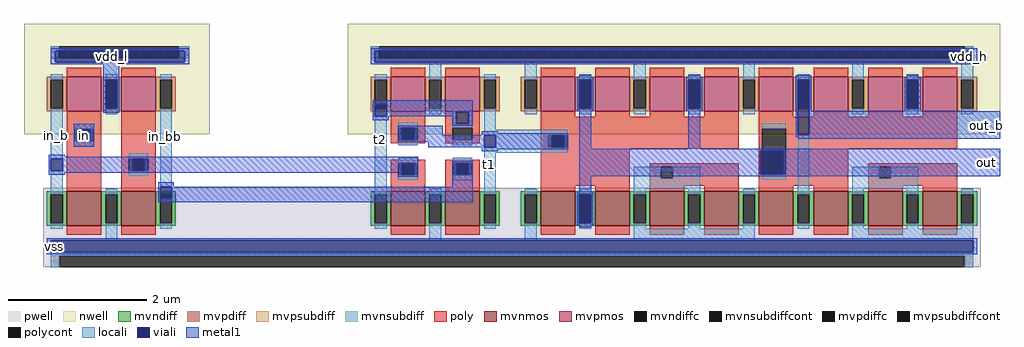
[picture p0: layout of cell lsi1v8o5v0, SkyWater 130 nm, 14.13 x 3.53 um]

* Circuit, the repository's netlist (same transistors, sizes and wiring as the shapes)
** sch_path: /home/amedcalf/projects/ci2406_fgcaptest/xschem/lsi1v8o5v0.sch
.subckt lsi1v8o5v0 in out_b out vdd_l vdd_h vss
*.PININFO in:I out_b:O out:O vdd_l:I vdd_h:I vss:I
XMN2 in_bb in_b vss vss sky130_fd_pr__nfet_g5v0d10v5 L=0.5 W=0.5 nf=1 m=1
XMN11 t2 in_b vss vss sky130_fd_pr__nfet_g5v0d10v5 L=0.5 W=0.5 nf=1 m=1
XMN12 t1 in_bb vss vss sky130_fd_pr__nfet_g5v0d10v5 L=0.5 W=0.5 nf=1 m=1
XMN13a out t1 vss vss sky130_fd_pr__nfet_g5v0d10v5 L=0.5 W=0.5 nf=1 m=1
XMN14a out_b out vss vss sky130_fd_pr__nfet_g5v0d10v5 L=0.5 W=0.5 nf=1 m=1
XMP2 in_bb in_b vdd_l vdd_l sky130_fd_pr__pfet_g5v0d10v5 L=0.5 W=0.5 nf=1 m=1
XMP11 t2 t1 vdd_h vdd_h sky130_fd_pr__pfet_g5v0d10v5 L=0.5 W=0.5 nf=1 m=1
XMP12 t1 t2 vdd_h vdd_h sky130_fd_pr__pfet_g5v0d10v5 L=0.5 W=0.5 nf=1 m=1
XMP13a out t1 vdd_h vdd_h sky130_fd_pr__pfet_g5v0d10v5 L=0.5 W=0.5 nf=1 m=1
XMP14a out_b out vdd_h vdd_h sky130_fd_pr__pfet_g5v0d10v5 L=0.5 W=0.5 nf=1 m=1
XMN13b out t1 vss vss sky130_fd_pr__nfet_g5v0d10v5 L=0.5 W=0.5 nf=1 m=1
XMP13b out t1 vdd_h vdd_h sky130_fd_pr__pfet_g5v0d10v5 L=0.5 W=0.5 nf=1 m=1
XMP13c out t1 vdd_h vdd_h sky130_fd_pr__pfet_g5v0d10v5 L=0.5 W=0.5 nf=1 m=1
XMP13d out t1 vdd_h vdd_h sky130_fd_pr__pfet_g5v0d10v5 L=0.5 W=0.5 nf=1 m=1
XMND1 vss vss vss vss sky130_fd_pr__nfet_g5v0d10v5 L=0.5 W=0.5 nf=1 m=1
XMND2 vss vss vss vss sky130_fd_pr__nfet_g5v0d10v5 L=0.5 W=0.5 nf=1 m=1
XMP14b out_b out vdd_h vdd_h sky130_fd_pr__pfet_g5v0d10v5 L=0.5 W=0.5 nf=1 m=1
XMP14c out_b out vdd_h vdd_h sky130_fd_pr__pfet_g5v0d10v5 L=0.5 W=0.5 nf=1 m=1
XMP14d out_b out vdd_h vdd_h sky130_fd_pr__pfet_g5v0d10v5 L=0.5 W=0.5 nf=1 m=1
XMN14b out_b out vss vss sky130_fd_pr__nfet_g5v0d10v5 L=0.5 W=0.5 nf=1 m=1
XMND3 vss vss vss vss sky130_fd_pr__nfet_g5v0d10v5 L=0.5 W=0.5 nf=1 m=1
XMND4 vss vss vss vss sky130_fd_pr__nfet_g5v0d10v5 L=0.5 W=0.5 nf=1 m=1
XMP1 in_b in vdd_l vdd_l sky130_fd_pr__pfet_g5v0d10v5 L=0.5 W=0.5 nf=1 m=1
XMN1 in_b in vss vss sky130_fd_pr__nfet_g5v0d10v5 L=0.5 W=0.5 nf=1 m=1
.ends

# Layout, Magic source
magic
tech sky130A
<< nwell >>
rect -42 133 227 293
rect 427 133 1371 293
<< pwell >>
rect -14 -60 1343 55
<< mvnmos >>
rect 20 0 70 50
rect 99 0 149 50
rect 489 0 539 50
rect 568 0 618 50
rect 706 0 756 50
rect 785 0 835 50
rect 864 0 914 50
rect 943 0 993 50
rect 1022 0 1072 50
rect 1101 0 1151 50
rect 1180 0 1230 50
rect 1259 0 1309 50
<< mvpmos >>
rect 20 166 70 216
rect 99 166 149 216
rect 489 166 539 216
rect 568 166 618 216
rect 706 166 756 216
rect 785 166 835 216
rect 864 166 914 216
rect 943 166 993 216
rect 1022 166 1072 216
rect 1101 166 1151 216
rect 1180 166 1230 216
rect 1259 166 1309 216
<< mvndiff >>
rect -9 46 20 50
rect -9 4 -3 46
rect 14 4 20 46
rect -9 0 20 4
rect 70 46 99 50
rect 70 4 76 46
rect 93 4 99 46
rect 70 0 99 4
rect 149 46 178 50
rect 149 4 155 46
rect 172 4 178 46
rect 149 0 178 4
rect 460 46 489 50
rect 460 4 466 46
rect 483 4 489 46
rect 460 0 489 4
rect 539 46 568 50
rect 539 4 545 46
rect 562 4 568 46
rect 539 0 568 4
rect 618 46 647 50
rect 618 4 624 46
rect 641 4 647 46
rect 618 0 647 4
rect 677 46 706 50
rect 677 4 683 46
rect 700 4 706 46
rect 677 0 706 4
rect 756 46 785 50
rect 756 4 762 46
rect 779 4 785 46
rect 756 0 785 4
rect 835 46 864 50
rect 835 4 841 46
rect 858 4 864 46
rect 835 0 864 4
rect 914 46 943 50
rect 914 4 920 46
rect 937 4 943 46
rect 914 0 943 4
rect 993 46 1022 50
rect 993 4 999 46
rect 1016 4 1022 46
rect 993 0 1022 4
rect 1072 46 1101 50
rect 1072 4 1078 46
rect 1095 4 1101 46
rect 1072 0 1101 4
rect 1151 46 1180 50
rect 1151 4 1157 46
rect 1174 4 1180 46
rect 1151 0 1180 4
rect 1230 46 1259 50
rect 1230 4 1236 46
rect 1253 4 1259 46
rect 1230 0 1259 4
rect 1309 46 1338 50
rect 1309 4 1315 46
rect 1332 4 1338 46
rect 1309 0 1338 4
<< mvpdiff >>
rect -9 212 20 216
rect -9 170 -3 212
rect 14 170 20 212
rect -9 166 20 170
rect 70 212 99 216
rect 70 170 76 212
rect 93 170 99 212
rect 70 166 99 170
rect 149 212 178 216
rect 149 170 155 212
rect 172 170 178 212
rect 149 166 178 170
rect 460 212 489 216
rect 460 170 466 212
rect 483 170 489 212
rect 460 166 489 170
rect 539 212 568 216
rect 539 170 545 212
rect 562 170 568 212
rect 539 166 568 170
rect 618 212 647 216
rect 618 170 624 212
rect 641 170 647 212
rect 618 166 647 170
rect 677 212 706 216
rect 677 170 683 212
rect 700 170 706 212
rect 677 166 706 170
rect 756 212 785 216
rect 756 170 762 212
rect 779 170 785 212
rect 756 166 785 170
rect 835 212 864 216
rect 835 170 841 212
rect 858 170 864 212
rect 835 166 864 170
rect 914 212 943 216
rect 914 170 920 212
rect 937 170 943 212
rect 914 166 943 170
rect 993 212 1022 216
rect 993 170 999 212
rect 1016 170 1022 212
rect 993 166 1022 170
rect 1072 212 1101 216
rect 1072 170 1078 212
rect 1095 170 1101 212
rect 1072 166 1101 170
rect 1151 212 1180 216
rect 1151 170 1157 212
rect 1174 170 1180 212
rect 1151 166 1180 170
rect 1230 212 1259 216
rect 1230 170 1236 212
rect 1253 170 1259 212
rect 1230 166 1259 170
rect 1309 212 1338 216
rect 1309 170 1315 212
rect 1332 170 1338 212
rect 1309 166 1338 170
<< mvndiffc >>
rect -3 4 14 46
rect 76 4 93 46
rect 155 4 172 46
rect 466 4 483 46
rect 545 4 562 46
rect 624 4 641 46
rect 683 4 700 46
rect 762 4 779 46
rect 841 4 858 46
rect 920 4 937 46
rect 999 4 1016 46
rect 1078 4 1095 46
rect 1157 4 1174 46
rect 1236 4 1253 46
rect 1315 4 1332 46
<< mvpdiffc >>
rect -3 170 14 212
rect 76 170 93 212
rect 155 170 172 212
rect 466 170 483 212
rect 545 170 562 212
rect 624 170 641 212
rect 683 170 700 212
rect 762 170 779 212
rect 841 170 858 212
rect 920 170 937 212
rect 999 170 1016 212
rect 1078 170 1095 212
rect 1157 170 1174 212
rect 1236 170 1253 212
rect 1315 170 1332 212
<< mvpsubdiff >>
rect -3 -60 9 -43
rect 1320 -60 1332 -43
<< mvnsubdiff >>
rect -3 243 9 260
rect 182 243 194 260
rect 460 243 472 260
rect 1320 243 1332 260
<< mvpsubdiffcont >>
rect 9 -60 1320 -43
<< mvnsubdiffcont >>
rect 9 243 182 260
rect 472 243 1320 260
<< poly >>
rect 20 216 70 229
rect 99 216 149 229
rect 489 216 539 229
rect 568 216 618 229
rect 706 216 756 229
rect 785 216 835 229
rect 864 216 914 229
rect 943 216 993 229
rect 1022 216 1072 229
rect 1101 216 1151 229
rect 1180 216 1230 229
rect 1259 216 1309 229
rect 20 140 70 166
rect 20 123 31 140
rect 59 123 70 140
rect 20 50 70 123
rect 99 97 149 166
rect 489 142 539 166
rect 489 125 500 142
rect 528 125 539 142
rect 489 120 539 125
rect 568 142 618 166
rect 568 125 579 142
rect 607 125 618 142
rect 568 120 618 125
rect 706 158 756 166
rect 785 158 835 166
rect 864 158 914 166
rect 943 158 993 166
rect 706 131 993 158
rect 99 80 110 97
rect 138 80 149 97
rect 706 114 717 131
rect 745 114 993 131
rect 706 112 993 114
rect 1022 158 1072 166
rect 1101 158 1151 166
rect 1180 158 1230 166
rect 1259 158 1309 166
rect 1022 141 1309 158
rect 99 50 149 80
rect 489 91 539 96
rect 489 74 500 91
rect 528 74 539 91
rect 489 50 539 74
rect 568 91 618 96
rect 568 74 579 91
rect 607 74 618 91
rect 568 50 618 74
rect 706 58 835 112
rect 706 50 756 58
rect 785 50 835 58
rect 864 86 993 91
rect 864 69 880 86
rect 897 69 993 86
rect 864 58 993 69
rect 864 50 914 58
rect 943 50 993 58
rect 1022 75 1027 141
rect 1061 112 1309 141
rect 1061 75 1151 112
rect 1022 58 1151 75
rect 1022 50 1072 58
rect 1101 50 1151 58
rect 1180 86 1309 91
rect 1180 69 1196 86
rect 1213 69 1309 86
rect 1180 58 1309 69
rect 1180 50 1230 58
rect 1259 50 1309 58
rect 20 -13 70 0
rect 99 -13 149 0
rect 489 -13 539 0
rect 568 -13 618 0
rect 706 -13 756 0
rect 785 -13 835 0
rect 864 -13 914 0
rect 943 -13 993 0
rect 1022 -13 1072 0
rect 1101 -13 1151 0
rect 1180 -13 1230 0
rect 1259 -13 1309 0
<< polycont >>
rect 31 123 59 140
rect 500 125 528 142
rect 579 125 607 142
rect 110 80 138 97
rect 717 114 745 131
rect 500 74 528 91
rect 579 74 607 91
rect 880 69 897 86
rect 1027 75 1061 141
rect 1196 69 1213 86
<< locali >>
rect -3 254 9 260
rect 182 254 197 260
rect -3 243 3 254
rect 191 243 197 254
rect 460 254 472 260
rect 1320 254 1332 260
rect 460 243 466 254
rect -3 212 14 220
rect -3 97 14 170
rect 76 212 93 220
rect 76 162 93 170
rect 155 212 172 220
rect 31 140 59 148
rect 31 115 59 123
rect -3 46 14 80
rect 110 97 138 105
rect 110 72 138 80
rect 155 57 172 170
rect -3 -4 14 4
rect 76 46 93 54
rect 76 -21 93 4
rect 155 -4 172 4
rect 466 212 483 220
rect 545 212 562 237
rect 545 162 562 170
rect 624 212 641 220
rect 466 46 483 159
rect 500 142 528 150
rect 500 117 528 125
rect 579 148 584 165
rect 602 148 607 165
rect 579 142 607 148
rect 579 117 607 125
rect 624 139 641 170
rect 683 212 700 237
rect 683 162 700 170
rect 762 212 779 220
rect 762 162 779 170
rect 841 212 858 237
rect 841 162 858 170
rect 920 212 937 220
rect 920 162 937 170
rect 999 212 1016 237
rect 999 162 1016 170
rect 1078 212 1095 220
rect 1027 141 1061 149
rect 624 131 745 139
rect 641 114 717 131
rect 624 106 745 114
rect 500 91 528 99
rect 500 66 528 74
rect 579 91 607 99
rect 579 66 607 74
rect 466 -4 483 4
rect 545 46 562 54
rect 545 -21 562 4
rect 624 46 641 106
rect 841 69 880 86
rect 897 69 937 86
rect 841 54 937 69
rect 1027 67 1061 75
rect 1157 212 1174 237
rect 1157 162 1174 170
rect 1236 212 1253 220
rect 1236 162 1253 170
rect 1315 212 1332 237
rect 1315 162 1332 170
rect 624 -4 641 4
rect 683 46 700 54
rect 683 -21 700 4
rect 762 46 779 54
rect 762 -4 779 4
rect 841 46 858 54
rect 841 -4 858 4
rect 920 46 937 54
rect 920 -4 937 4
rect 999 46 1016 54
rect 999 -4 1016 4
rect 1078 46 1095 132
rect 1078 -4 1095 4
rect 1157 69 1196 86
rect 1213 69 1253 86
rect 1157 54 1253 69
rect 1157 46 1174 54
rect 1157 -4 1174 4
rect 1236 46 1253 54
rect 1236 -4 1253 4
rect 1315 46 1332 54
rect 1315 -4 1332 4
rect 841 -21 1016 -4
rect 1157 -21 1332 -4
rect -3 -43 1332 -38
rect -3 -60 9 -43
rect 1320 -60 1332 -43
<< viali >>
rect 3 243 9 254
rect 9 243 182 254
rect 182 243 191 254
rect 466 243 472 254
rect 472 243 1320 254
rect 1320 243 1332 254
rect 3 237 191 243
rect 466 237 1332 243
rect 76 170 93 212
rect 36 123 54 140
rect -3 80 14 97
rect 115 80 133 97
rect 155 46 172 57
rect 155 40 172 46
rect 466 170 483 176
rect 466 159 483 170
rect 505 125 523 142
rect 584 148 602 165
rect 762 170 779 212
rect 920 170 937 212
rect 1078 170 1095 212
rect 624 114 641 131
rect 722 114 740 131
rect 505 74 523 91
rect 584 74 602 91
rect 1024 75 1027 109
rect 1027 75 1058 109
rect 1078 132 1095 170
rect 1236 170 1253 212
rect 762 4 779 46
rect -3 -38 1332 -21
<< metal1 >>
rect -3 254 197 257
rect -3 237 3 254
rect 191 237 197 254
rect -3 234 197 237
rect 460 254 1338 257
rect 460 237 466 254
rect 1332 237 1338 254
rect 460 234 1338 237
rect 73 212 96 234
rect 762 215 779 218
rect 920 215 937 218
rect 73 170 76 212
rect 93 170 96 212
rect 759 212 782 215
rect 73 164 96 170
rect 463 176 608 182
rect 463 159 466 176
rect 483 165 608 176
rect 759 170 762 212
rect 779 170 782 212
rect 759 167 782 170
rect 917 212 940 215
rect 917 170 920 212
rect 937 170 940 212
rect 917 167 940 170
rect 1075 212 1098 218
rect 1236 215 1253 218
rect 483 159 584 165
rect 463 153 486 159
rect 578 148 584 159
rect 602 148 608 165
rect 30 140 60 148
rect 578 145 608 148
rect 30 123 36 140
rect 54 123 60 140
rect 30 115 60 123
rect 499 142 564 145
rect 499 125 505 142
rect 523 131 564 142
rect 621 134 644 137
rect 621 131 746 134
rect 523 125 624 131
rect 499 122 624 125
rect 543 114 624 122
rect 641 114 722 131
rect 740 114 746 131
rect 621 111 746 114
rect 762 112 779 167
rect 920 112 937 167
rect 1075 132 1078 212
rect 1095 166 1098 212
rect 1233 212 1256 215
rect 1233 170 1236 212
rect 1253 170 1256 212
rect 1233 166 1256 170
rect 1095 132 1371 166
rect 1075 129 1371 132
rect 1078 126 1371 129
rect 621 108 644 111
rect 762 109 1371 112
rect -6 100 17 103
rect -6 97 529 100
rect -6 80 -3 97
rect 14 80 115 97
rect 133 91 529 97
rect 133 80 505 91
rect -6 77 505 80
rect -6 74 17 77
rect 499 74 505 77
rect 523 74 529 91
rect 499 71 529 74
rect 578 91 608 94
rect 578 74 584 91
rect 602 74 608 91
rect 152 57 175 63
rect 578 57 608 74
rect 152 40 155 57
rect 172 40 608 57
rect 762 78 1024 109
rect 762 72 880 78
rect 897 75 1024 78
rect 1058 75 1371 109
rect 897 72 1371 75
rect 762 49 779 72
rect 152 34 608 40
rect 759 46 782 49
rect 759 4 762 46
rect 779 4 782 46
rect 759 1 782 4
rect 762 -2 779 1
rect -9 -21 1338 -18
rect -9 -38 -3 -21
rect 1332 -38 1338 -21
rect -9 -41 1338 -38
<< labels >>
flabel metal1 30 115 60 148 0 FreeSans 160 0 0 0 in
port 1 nsew
flabel locali -3 122 14 139 0 FreeSans 80 90 0 0 in_b
flabel locali 155 116 172 143 0 FreeSans 80 90 0 0 in_bb
flabel metal1 73 234 96 257 0 FreeSans 160 0 0 0 vdd_l
port 4 nsew
flabel metal1 -9 -41 14 -18 0 FreeSans 160 0 0 0 vss
port 6 nsew
flabel metal1 1331 72 1371 112 0 FreeSans 160 0 0 0 out
port 3 nsew
flabel metal1 1331 126 1371 166 0 FreeSans 160 0 0 0 out_b
port 2 nsew
flabel locali 624 80 641 97 0 FreeSans 80 0 0 0 t1
flabel locali 466 116 483 133 0 FreeSans 80 0 0 0 t2
flabel metal1 1315 234 1338 257 0 FreeSans 160 0 0 0 vdd_h
port 5 nsew
<< end >>
